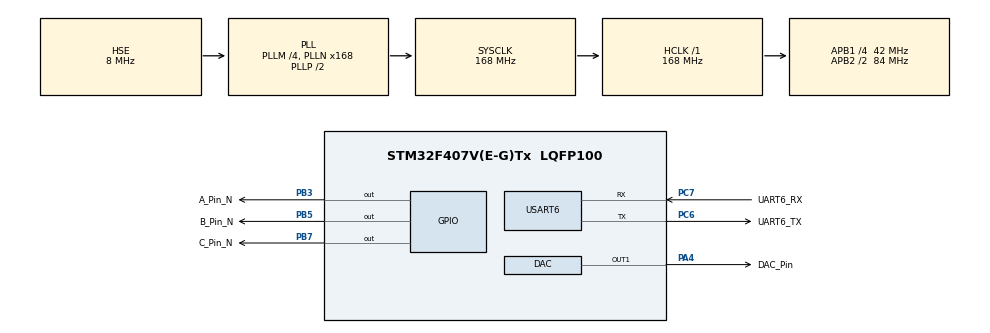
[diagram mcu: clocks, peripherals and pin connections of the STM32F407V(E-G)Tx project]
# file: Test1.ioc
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ADC1.Channel-0\#ChannelRegularConversion=ADC_CHANNEL_VREFINT
ADC1.NbrOfConversion=1
ADC1.NbrOfConversionFlag=1
ADC1.Rank-0\#ChannelRegularConversion=1
ADC1.SamplingTime-0\#ChannelRegularConversion=ADC_SAMPLETIME_3CYCLES
ADC1.master=1
DAC.DAC_Trigger=DAC_TRIGGER_T4_TRGO
Dma.DAC1.0.Direction=DMA_MEMORY_TO_PERIPH
Dma.DAC1.0.FIFOMode=DMA_FIFOMODE_DISABLE
Dma.DAC1.0.Instance=DMA1_Stream5
Dma.DAC1.0.MemDataAlignment=DMA_MDATAALIGN_HALFWORD
Dma.DAC1.0.MemInc=DMA_MINC_ENABLE
Dma.DAC1.0.Mode=DMA_CIRCULAR
Dma.DAC1.0.PeriphDataAlignment=DMA_PDATAALIGN_HALFWORD
Dma.DAC1.0.PeriphInc=DMA_PINC_DISABLE
Dma.DAC1.0.Priority=DMA_PRIORITY_HIGH
Dma.Request0=DAC1
Mcu.Family=STM32F4
Mcu.Name=STM32F407V(E-G)Tx
Mcu.Package=LQFP100
NVIC.DMA1_Stream5_IRQn=true\:0\:0\:false\:false\:true\:false\:true\:true
NVIC.PriorityGroup=NVIC_PRIORITYGROUP_2
NVIC.USART6_IRQn=true\:1\:1\:true\:false\:true\:true\:true\:true
PA13.Mode=Serial_Wire
PA13.Signal=SYS_JTMS-SWDIO
PA14.Mode=Serial_Wire
PA14.Signal=SYS_JTCK-SWCLK
PA4.GPIO_Label=DAC_Pin
PA4.GPIO_PuPd=GPIO_NOPULL
PA4.Signal=COMP_DAC1_group
PB3.GPIO_Label=A_Pin_N
PB3.GPIO_PuPd=GPIO_PULLUP
PB3.PinState=GPIO_PIN_RESET
PB3.Signal=GPIO_Output
PB5.GPIO_Label=B_Pin_N
PB5.GPIO_PuPd=GPIO_PULLUP
PB5.PinState=GPIO_PIN_RESET
PB5.Signal=GPIO_Output
PB7.GPIO_Label=C_Pin_N
PB7.GPIO_PuPd=GPIO_PULLUP
PB7.GPIO_Speed=GPIO_SPEED_FREQ_LOW
PB7.PinState=GPIO_PIN_SET
PB7.Signal=GPIO_Output
PC14-OSC32_IN.Mode=LSE-External-Oscillator
PC14-OSC32_IN.Signal=RCC_OSC32_IN
PC15-OSC32_OUT.Mode=LSE-External-Oscillator
PC15-OSC32_OUT.Signal=RCC_OSC32_OUT
PC6.GPIO_Label=UART6_TX
PC6.GPIO_Speed=GPIO_SPEED_FREQ_VERY_HIGH
PC6.Mode=Asynchronous
PC6.Signal=USART6_TX
PC7.GPIO_Label=UART6_RX
PC7.Mode=Asynchronous
PC7.Signal=USART6_RX
PH0-OSC_IN.Mode=HSE-External-Oscillator
PH0-OSC_IN.Signal=RCC_OSC_IN
PH1-OSC_OUT.Mode=HSE-External-Oscillator
PH1-OSC_OUT.Signal=RCC_OSC_OUT
ProjectManager.HeapSize=0x200
ProjectManager.StackSize=0x400
ProjectManager.TargetToolchain=MDK-ARM V5.32
RCC.48MHZClocksFreq_Value=84000000
RCC.AHBFreq_Value=168000000
RCC.APB1CLKDivider=RCC_HCLK_DIV4
RCC.APB1Freq_Value=42000000
RCC.APB1TimFreq_Value=84000000
RCC.APB2CLKDivider=RCC_HCLK_DIV2
RCC.APB2Freq_Value=84000000
RCC.APB2TimFreq_Value=168000000
RCC.CortexFreq_Value=168000000
RCC.HCLKFreq_Value=168000000
RCC.HSE_VALUE=8000000
RCC.HSI_VALUE=16000000
RCC.PLLM=4
RCC.PLLN=168
RCC.PLLSourceVirtual=RCC_PLLSOURCE_HSE
RCC.SYSCLKFreq_VALUE=168000000
RCC.SYSCLKSource=RCC_SYSCLKSOURCE_PLLCLK
RCC.VCOOutputFreq_Value=336000000
SH.COMP_DAC1_group.0=DAC_OUT1,DAC_OUT1
TIM4.AutoReloadPreload=TIM_AUTORELOAD_PRELOAD_ENABLE
TIM4.Period=1050
TIM4.Prescaler=0
TIM4.TIM_MasterOutputTrigger=TIM_TRGO_UPDATE
TIM4.TIM_MasterSlaveMode=TIM_MASTERSLAVEMODE_ENABLE
USART6.VirtualMode=VM_ASYNC
VP_ADC1_Vref_Input.Mode=IN-Vrefint
VP_TIM4_VS_ClockSourceINT.Mode=Internal
board=custom

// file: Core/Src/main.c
/* USER CODE BEGIN Header */
/**
  ******************************************************************************
  * @file           : main.c
  * @brief          : Main program body
  ******************************************************************************
  * @attention
  *
  * Copyright (c) 2025 STMicroelectronics.
  * All rights reserved.
  *
  * This software is licensed under terms that can be found in the LICENSE file
  * in the root directory of this software component.
  * If no LICENSE file comes with this software, it is provided AS-IS.
  *
  ******************************************************************************
  */
/* USER CODE END Header */
#include "main.h"
#include "adc.h"
#include "dac.h"
#include "dma.h"
#include "tim.h"
#include "usart.h"
#include "gpio.h"

/* USER CODE BEGIN Includes */
#include ".\delay\delay.h"

#include ".\CD4053\CD4053.h"
#include ".\DAC\DAC_Change.h"
/* USER CODE END Includes */

/* USER CODE BEGIN PTD */
void Usart_Correct_Wave(uint8_t Num);
/* USER CODE END PTD */

/* USER CODE BEGIN PV */
uint8_t Correct_Commond=0;//1-change;0-none
uint8_t Buffer_UART[9];
uint8_t UART_Wave_State=0;//�������Σ�1  ����ʧ�棺2  �ײ�ʧ�棺3  ˫��ʧ�棺4
/* USER CODE END PV */

void SystemClock_Config(void);

int main(void)
{

  /* MCU Configuration--------------------------------------------------------*/

  /* Reset of all peripherals, Initializes the Flash interface and the Systick. */
  HAL_Init();

  /* Configure the system clock */
  SystemClock_Config();

  /* Initialize all configured peripherals */
  MX_GPIO_Init();
  MX_DMA_Init();
  MX_DAC_Init();
  MX_TIM4_Init();
  MX_USART6_UART_Init();
  MX_ADC1_Init();
  /* USER CODE BEGIN 2 */

    Wave_data_Init();
    Correct_Now_Wave_State(1);
    CorrectWave(1);
    Correct_DAC_Wave(1);
    HAL_TIM_Base_Start(&htim4);
    HAL_UART_Receive_IT(&huart6, Buffer_UART, 9);
  /* USER CODE END 2 */

  /* Infinite loop */
  while (1)
  {

    /* USER CODE BEGIN 3 */
      if(Correct_Commond)
      {
          Usart_Correct_Wave(UART_Wave_State);
          Correct_Commond=0;
      }
  }
  /* USER CODE END 3 */
}

void SystemClock_Config(void)
{
  RCC_OscInitTypeDef RCC_OscInitStruct = {0};
  RCC_ClkInitTypeDef RCC_ClkInitStruct = {0};

  /** Configure the main internal regulator output voltage
  */
  __HAL_RCC_PWR_CLK_ENABLE();
  __HAL_PWR_VOLTAGESCALING_CONFIG(PWR_REGULATOR_VOLTAGE_SCALE1);

  /** Initializes the RCC Oscillators according to the specified parameters
  * in the RCC_OscInitTypeDef structure.
  */
  RCC_OscInitStruct.OscillatorType = RCC_OSCILLATORTYPE_HSE;
  RCC_OscInitStruct.HSEState = RCC_HSE_ON;
  RCC_OscInitStruct.PLL.PLLState = RCC_PLL_ON;
  RCC_OscInitStruct.PLL.PLLSource = RCC_PLLSOURCE_HSE;
  RCC_OscInitStruct.PLL.PLLM = 4;
  RCC_OscInitStruct.PLL.PLLN = 168;
  RCC_OscInitStruct.PLL.PLLP = RCC_PLLP_DIV2;
  RCC_OscInitStruct.PLL.PLLQ = 4;
  if (HAL_RCC_OscConfig(&RCC_OscInitStruct) != HAL_OK)
  {
    Error_Handler();
  }

  /** Initializes the CPU, AHB and APB buses clocks
  */
  RCC_ClkInitStruct.ClockType = RCC_CLOCKTYPE_HCLK|RCC_CLOCKTYPE_SYSCLK
                              |RCC_CLOCKTYPE_PCLK1|RCC_CLOCKTYPE_PCLK2;
  RCC_ClkInitStruct.SYSCLKSource = RCC_SYSCLKSOURCE_PLLCLK;
  RCC_ClkInitStruct.AHBCLKDivider = RCC_SYSCLK_DIV1;
  RCC_ClkInitStruct.APB1CLKDivider = RCC_HCLK_DIV4;
  RCC_ClkInitStruct.APB2CLKDivider = RCC_HCLK_DIV2;

  if (HAL_RCC_ClockConfig(&RCC_ClkInitStruct, FLASH_LATENCY_5) != HAL_OK)
  {
    Error_Handler();
  }
}

/* USER CODE BEGIN 4 */
void HAL_UART_RxCpltCallback(UART_HandleTypeDef *huart)
{
    if(huart->Instance==USART6)
    {
        Correct_Commond=1;
        UART_Wave_State=Buffer_UART[8];
        HAL_UART_Receive_IT(&huart6, Buffer_UART, 9);
    }
}

void Usart_Correct_Wave(uint8_t Num)
{
    if(Get_Now_Wave_State()!=Num)
    {
        Correct_Now_Wave_State(Num);
        Correct_DAC_Wave(Num);
        CorrectWave(Num);
    }

}
/* USER CODE END 4 */

void Error_Handler(void)
{
  __disable_irq();
  while (1)
  {
  }
}
